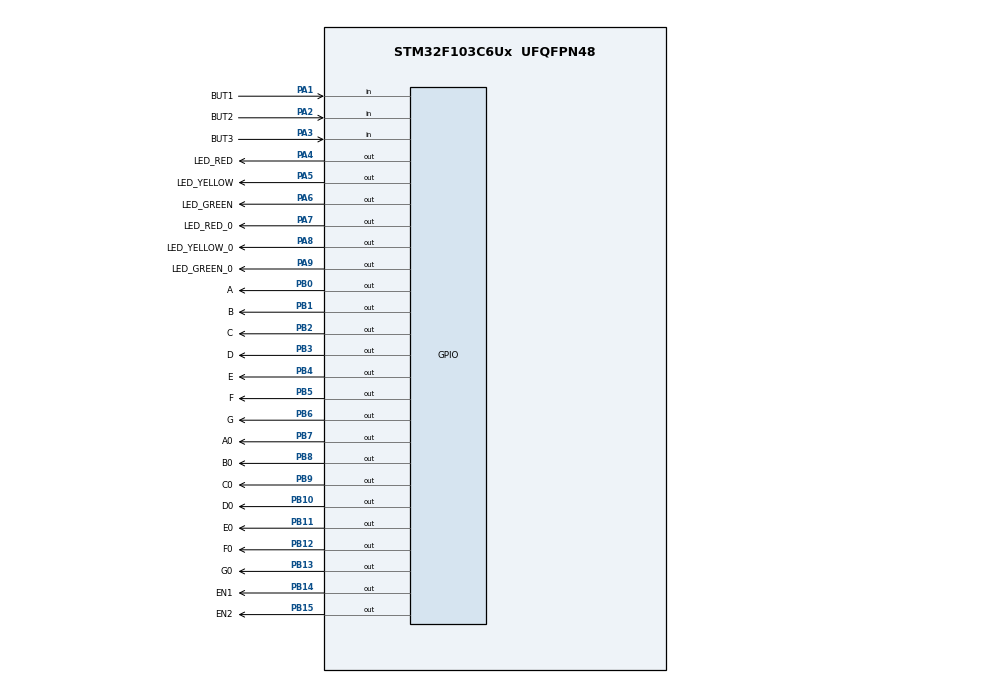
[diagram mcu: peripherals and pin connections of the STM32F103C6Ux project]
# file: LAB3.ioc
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Mcu.Family=STM32F1
Mcu.Name=STM32F103C6Ux
Mcu.Package=UFQFPN48
NVIC.PriorityGroup=NVIC_PRIORITYGROUP_4
NVIC.TIM2_IRQn=true\:0\:0\:false\:false\:true\:true\:true\:true
PA1.GPIO_Label=BUT1
PA1.GPIO_PuPd=GPIO_PULLUP
PA1.Signal=GPIO_Input
PA2.GPIO_Label=BUT2
PA2.GPIO_PuPd=GPIO_PULLUP
PA2.Signal=GPIO_Input
PA3.GPIO_Label=BUT3
PA3.GPIO_PuPd=GPIO_PULLUP
PA3.Signal=GPIO_Input
PA4.GPIO_Label=LED_RED
PA4.Signal=GPIO_Output
PA5.GPIO_Label=LED_YELLOW
PA5.Signal=GPIO_Output
PA6.GPIO_Label=LED_GREEN
PA6.Signal=GPIO_Output
PA7.GPIO_Label=LED_RED_0
PA7.Signal=GPIO_Output
PA8.GPIO_Label=LED_YELLOW_0
PA8.Signal=GPIO_Output
PA9.GPIO_Label=LED_GREEN_0
PA9.Signal=GPIO_Output
PB0.GPIO_Label=A
PB0.Signal=GPIO_Output
PB1.GPIO_Label=B
PB1.Signal=GPIO_Output
PB10.GPIO_Label=D0
PB10.Signal=GPIO_Output
PB11.GPIO_Label=E0
PB11.Signal=GPIO_Output
PB12.GPIO_Label=F0
PB12.Signal=GPIO_Output
PB13.GPIO_Label=G0
PB13.Signal=GPIO_Output
PB14.GPIO_Label=EN1
PB14.Signal=GPIO_Output
PB15.GPIO_Label=EN2
PB15.Signal=GPIO_Output
PB2.GPIO_Label=C
PB2.Signal=GPIO_Output
PB3.GPIO_Label=D
PB3.Signal=GPIO_Output
PB4.GPIO_Label=E
PB4.Signal=GPIO_Output
PB5.GPIO_Label=F
PB5.Signal=GPIO_Output
PB6.GPIO_Label=G
PB6.Signal=GPIO_Output
PB7.GPIO_Label=A0
PB7.Signal=GPIO_Output
PB8.GPIO_Label=B0
PB8.Signal=GPIO_Output
PB9.GPIO_Label=C0
PB9.Signal=GPIO_Output
ProjectManager.HeapSize=0x200
ProjectManager.StackSize=0x400
ProjectManager.TargetToolchain=STM32CubeIDE
RCC.APB1Freq_Value=8000000
RCC.APB2Freq_Value=8000000
TIM2.Period=9
TIM2.Prescaler=7999
VP_TIM2_VS_ClockSourceINT.Mode=Internal
board=custom

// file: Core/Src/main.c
/* USER CODE BEGIN Header */
/**
  ******************************************************************************
  * @file           : main.c
  * @brief          : Main program body
  ******************************************************************************
  * @attention
  *
  * Copyright (c) 2022 STMicroelectronics.
  * All rights reserved.
  *
  * This software is licensed under terms that can be found in the LICENSE file
  * in the root directory of this software component.
  * If no LICENSE file comes with this software, it is provided AS-IS.
  *
  ******************************************************************************
  */
/* USER CODE END Header */
#include "main.h"

/* USER CODE BEGIN Includes */
#include "software_timer.h"
#include "global.h"
#include "fsm.h"
#include "button.h"
/* USER CODE END Includes */

TIM_HandleTypeDef htim2;

void SystemClock_Config(void);
static void MX_GPIO_Init(void);
static void MX_TIM2_Init(void);

int main(void)
{

  /* MCU Configuration--------------------------------------------------------*/

  /* Reset of all peripherals, Initializes the Flash interface and the Systick. */
  HAL_Init();

  /* Configure the system clock */
  SystemClock_Config();

  /* Initialize all configured peripherals */
  MX_GPIO_Init();
  MX_TIM2_Init();
  /* USER CODE BEGIN 2 */
  HAL_TIM_Base_Start_IT(&htim2);
  /* USER CODE END 2 */

  /* Infinite loop */
  /* USER CODE BEGIN WHILE */
  state = 0;
  int led_idx = 0;
  int index = 0;
  setTimer0(1000);
  while (1)
  {
	  if (timer0_flag == 1) {
		  switch (led_idx) {
			  case 0:
				  led_idx++;
				  break;
		  	  case 1:
		  		  index = 1;
		  		  update7SEG(index);
		  		  setTimer0(500);
		  		  led_idx = 2;
		  		  break;
		  	  case 2:
		  		  led_idx++;
		  		  break;
		  	  case 3:
		  		  index = 2;
		  		  update7SEG(index);
		  		  setTimer0(500);
		  		  led_idx = 0;
		  		  break;
		  	  default:
		  		  break;
		  }
	  }
	  fsm_run();
    /* USER CODE END WHILE */

  }
}

void SystemClock_Config(void)
{
  RCC_OscInitTypeDef RCC_OscInitStruct = {0};
  RCC_ClkInitTypeDef RCC_ClkInitStruct = {0};

  /** Initializes the RCC Oscillators according to the specified parameters
  * in the RCC_OscInitTypeDef structure.
  */
  RCC_OscInitStruct.OscillatorType = RCC_OSCILLATORTYPE_HSI;
  RCC_OscInitStruct.HSIState = RCC_HSI_ON;
  RCC_OscInitStruct.HSICalibrationValue = RCC_HSICALIBRATION_DEFAULT;
  RCC_OscInitStruct.PLL.PLLState = RCC_PLL_NONE;
  if (HAL_RCC_OscConfig(&RCC_OscInitStruct) != HAL_OK)
  {
    Error_Handler();
  }

  /** Initializes the CPU, AHB and APB buses clocks
  */
  RCC_ClkInitStruct.ClockType = RCC_CLOCKTYPE_HCLK|RCC_CLOCKTYPE_SYSCLK
                              |RCC_CLOCKTYPE_PCLK1|RCC_CLOCKTYPE_PCLK2;
  RCC_ClkInitStruct.SYSCLKSource = RCC_SYSCLKSOURCE_HSI;
  RCC_ClkInitStruct.AHBCLKDivider = RCC_SYSCLK_DIV1;
  RCC_ClkInitStruct.APB1CLKDivider = RCC_HCLK_DIV1;
  RCC_ClkInitStruct.APB2CLKDivider = RCC_HCLK_DIV1;

  if (HAL_RCC_ClockConfig(&RCC_ClkInitStruct, FLASH_LATENCY_0) != HAL_OK)
  {
    Error_Handler();
  }
}

static void MX_TIM2_Init(void)
{

  TIM_ClockConfigTypeDef sClockSourceConfig = {0};
  TIM_MasterConfigTypeDef sMasterConfig = {0};

  htim2.Instance = TIM2;
  htim2.Init.Prescaler = 7999;
  htim2.Init.CounterMode = TIM_COUNTERMODE_UP;
  htim2.Init.Period = 9;
  htim2.Init.ClockDivision = TIM_CLOCKDIVISION_DIV1;
  htim2.Init.AutoReloadPreload = TIM_AUTORELOAD_PRELOAD_DISABLE;
  if (HAL_TIM_Base_Init(&htim2) != HAL_OK)
  {
    Error_Handler();
  }
  sClockSourceConfig.ClockSource = TIM_CLOCKSOURCE_INTERNAL;
  if (HAL_TIM_ConfigClockSource(&htim2, &sClockSourceConfig) != HAL_OK)
  {
    Error_Handler();
  }
  sMasterConfig.MasterOutputTrigger = TIM_TRGO_RESET;
  sMasterConfig.MasterSlaveMode = TIM_MASTERSLAVEMODE_DISABLE;
  if (HAL_TIMEx_MasterConfigSynchronization(&htim2, &sMasterConfig) != HAL_OK)
  {
    Error_Handler();
  }

}

static void MX_GPIO_Init(void)
{
  GPIO_InitTypeDef GPIO_InitStruct = {0};

  /* GPIO Ports Clock Enable */
  __HAL_RCC_GPIOA_CLK_ENABLE();
  __HAL_RCC_GPIOB_CLK_ENABLE();

  /*Configure GPIO pin Output Level */
  HAL_GPIO_WritePin(GPIOA, LED_RED_Pin|LED_YELLOW_Pin|LED_GREEN_Pin|LED_RED_0_Pin
                          |LED_YELLOW_0_Pin|LED_GREEN_0_Pin, GPIO_PIN_RESET);

  /*Configure GPIO pin Output Level */
  HAL_GPIO_WritePin(GPIOB, A_Pin|B_Pin|C_Pin|D0_Pin
                          |E0_Pin|F0_Pin|G0_Pin|EN1_Pin
                          |EN2_Pin|D_Pin|E_Pin|F_Pin
                          |G_Pin|A0_Pin|B0_Pin|C0_Pin, GPIO_PIN_RESET);

  /*Configure GPIO pins : BUT1_Pin BUT2_Pin BUT3_Pin */
  GPIO_InitStruct.Pin = BUT1_Pin|BUT2_Pin|BUT3_Pin;
  GPIO_InitStruct.Mode = GPIO_MODE_INPUT;
  GPIO_InitStruct.Pull = GPIO_PULLUP;
  HAL_GPIO_Init(GPIOA, &GPIO_InitStruct);

  /*Configure GPIO pins : LED_RED_Pin LED_YELLOW_Pin LED_GREEN_Pin LED_RED_0_Pin
                           LED_YELLOW_0_Pin LED_GREEN_0_Pin */
  GPIO_InitStruct.Pin = LED_RED_Pin|LED_YELLOW_Pin|LED_GREEN_Pin|LED_RED_0_Pin
                          |LED_YELLOW_0_Pin|LED_GREEN_0_Pin;
  GPIO_InitStruct.Mode = GPIO_MODE_OUTPUT_PP;
  GPIO_InitStruct.Pull = GPIO_NOPULL;
  GPIO_InitStruct.Speed = GPIO_SPEED_FREQ_LOW;
  HAL_GPIO_Init(GPIOA, &GPIO_InitStruct);

  /*Configure GPIO pins : A_Pin B_Pin C_Pin D0_Pin
                           E0_Pin F0_Pin G0_Pin EN1_Pin
                           EN2_Pin D_Pin E_Pin F_Pin
                           G_Pin A0_Pin B0_Pin C0_Pin */
  GPIO_InitStruct.Pin = A_Pin|B_Pin|C_Pin|D0_Pin
                          |E0_Pin|F0_Pin|G0_Pin|EN1_Pin
                          |EN2_Pin|D_Pin|E_Pin|F_Pin
                          |G_Pin|A0_Pin|B0_Pin|C0_Pin;
  GPIO_InitStruct.Mode = GPIO_MODE_OUTPUT_PP;
  GPIO_InitStruct.Pull = GPIO_NOPULL;
  GPIO_InitStruct.Speed = GPIO_SPEED_FREQ_LOW;
  HAL_GPIO_Init(GPIOB, &GPIO_InitStruct);

}

/* USER CODE BEGIN 4 */
void HAL_TIM_PeriodElapsedCallback(TIM_HandleTypeDef *htim){
	timer_run();
	getKeyInput();
}
/* USER CODE END 4 */

void Error_Handler(void)
{
  __disable_irq();
  while (1)
  {
  }
}
